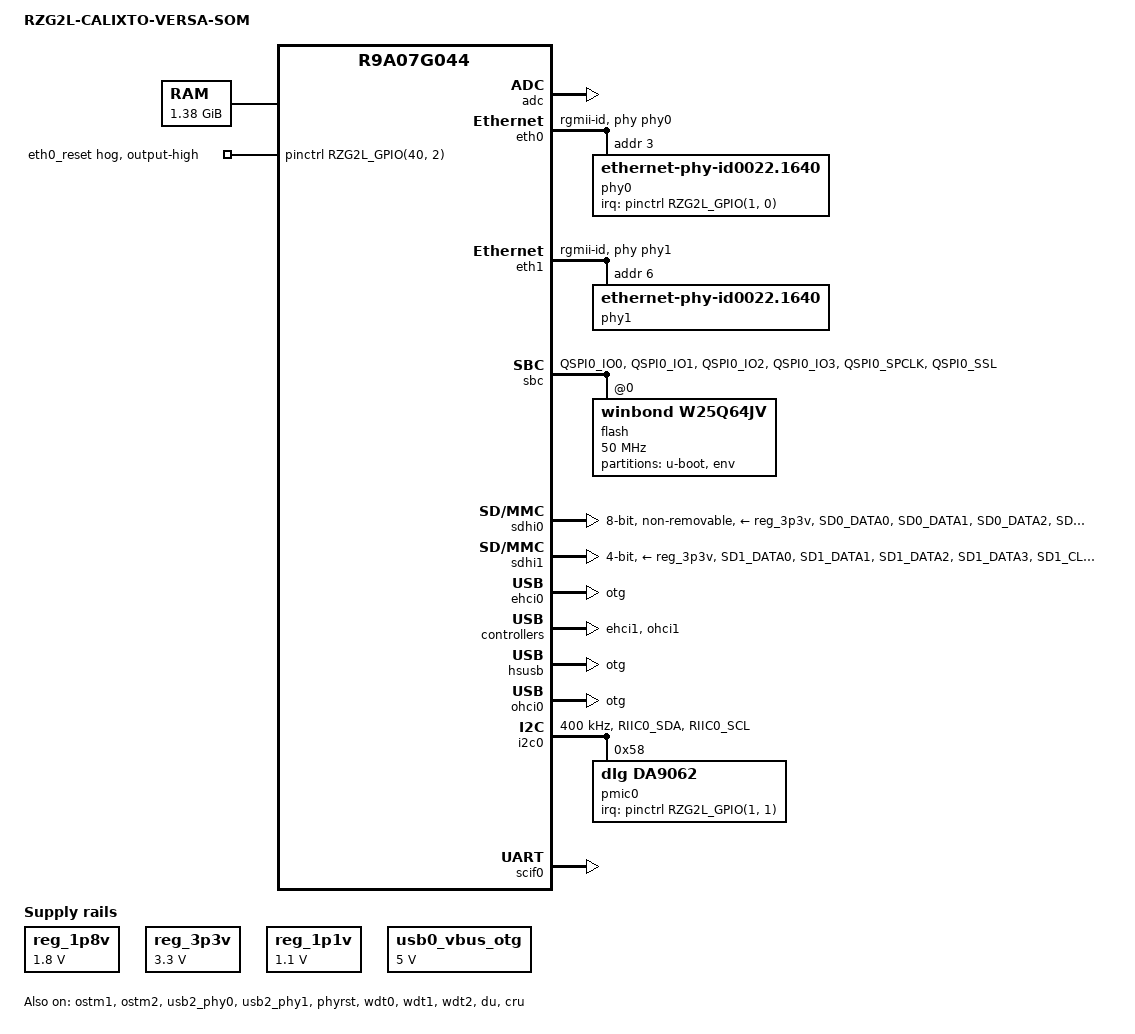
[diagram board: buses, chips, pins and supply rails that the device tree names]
// SPDX-License-Identifier: (GPL-2.0-only OR BSD-2-Clause)
/*
 * Device Tree Source for the RZG2L VERSA SOM
 *
 * Copyright (C) 2023 Calixto Systems PVT LTD.
 */

/dts-v1/;
#include "r9a07g044.dtsi"
#include <dt-bindings/gpio/gpio.h>
#include <dt-bindings/pinctrl/rzg2l-pinctrl.h>
#include <dt-bindings/regulator/dlg,da9063-regulator.h>

/ {
	model = "RZG2L-CALIXTO-VERSA-SOM";
	compatible = "calixto,rzg2l-calixto-versa-som", "renesas,r9a07g044l2", "renesas,r9a07g044";

	aliases {
		ethernet0 = &eth0;
		ethernet1 = &eth1;
		serial0 = &scif0;
		rtc0 = &da9062_rtc;
	};

	chosen {
		stdout-path = "serial0:115200n8";
		bootargs = "ignore_loglevel rw root=/dev/nfs ip=on";
	};

	memory@48000000 {
		device_type = "memory";
		/* first 128MB is reserved for secure area. */
		reg = <0x0 0x48000000 0x0 0x58000000>;
	};

	reserved-memory {
		#address-cells = <2>;
		#size-cells = <2>;
		ranges;

		global_cma: linux,cma@58000000 {
			compatible = "shared-dma-pool";
			linux,cma-default;
			reusable;
			reg = <0x0 0x58000000 0x0 0x10000000>;
		};
		mmp_reserved: linux,multimedia {
			compatible = "shared-dma-pool";
			reusable;
			reg = <0x00000000 0x68000000 0x0 0x8000000>;
		};
	};

	mmngr {
		compatible = "renesas,mmngr";
		memory-region = <&mmp_reserved>;
	};

	mmngrbuf {
		compatible = "renesas,mmngrbuf";
	};

	vspm_if {
		compatible = "renesas,vspm_if";
	};

	reg_1p8v: regulator0 {
		compatible = "regulator-fixed";
		regulator-name = "fixed-1.8V";
		regulator-min-microvolt = <1800000>;
		regulator-max-microvolt = <1800000>;
		regulator-boot-on;
		regulator-always-on;
	};

	reg_3p3v: regulator1 {
		compatible = "regulator-fixed";
		regulator-name = "fixed-3.3V";
		regulator-min-microvolt = <3300000>;
		regulator-max-microvolt = <3300000>;
		regulator-boot-on;
		regulator-always-on;
	};

	reg_1p1v: regulator-vdd-core {
		compatible = "regulator-fixed";
		regulator-name = "fixed-1.1V";
		regulator-min-microvolt = <1100000>;
		regulator-max-microvolt = <1100000>;
		regulator-boot-on;
		regulator-always-on;
	};

	usb0_vbus_otg: regulator-usb0-vbus-otg {
		compatible = "regulator-fixed";

		regulator-name = "USB0_VBUS_OTG";
		regulator-min-microvolt = <5000000>;
		regulator-max-microvolt = <5000000>;
	};

};

&adc {
	status = "okay";
};

&eth0 {
	pinctrl-0 = <&eth0_pins>;
	pinctrl-names = "default";
	phy-handle = <&phy0>;
	phy-mode = "rgmii-id"; 
	status = "okay";

	phy0: ethernet-phy@3 {
		compatible = "ethernet-phy-id0022.1640",
			     "ethernet-phy-ieee802.3-c22";
		reg = <3>;
		rxc-skew-psec = <2400>;
		txc-skew-psec = <2400>;
		rxdv-skew-psec = <0>;
		txdv-skew-psec = <0>;
		rxd0-skew-psec = <0>;
		rxd1-skew-psec = <0>;
		rxd2-skew-psec = <0>;
		rxd3-skew-psec = <0>;
		txd0-skew-psec = <0>;
		txd1-skew-psec = <0>;
		txd2-skew-psec = <0>;
		txd3-skew-psec = <0>;

		interrupt-parent = <&pinctrl>;
		interrupts = <RZG2L_GPIO(1, 0) IRQ_TYPE_LEVEL_LOW>;
	};
};

&eth1 {
	pinctrl-0 = <&eth1_pins>;
	pinctrl-names = "default";
	phy-handle = <&phy1>;
	phy-mode = "rgmii-id";
	status = "okay";

	phy1: ethernet-phy@6 {
		compatible = "ethernet-phy-id0022.1640",
			     "ethernet-phy-ieee802.3-c22";
		reg = <6>;
		rxc-skew-psec = <2400>;
		txc-skew-psec = <2400>;
		rxdv-skew-psec = <0>;
		txdv-skew-psec = <0>;
		rxd0-skew-psec = <0>;
		rxd1-skew-psec = <0>;
		rxd2-skew-psec = <0>;
		rxd3-skew-psec = <0>;
		txd0-skew-psec = <0>;
		txd1-skew-psec = <0>;
		txd2-skew-psec = <0>;
		txd3-skew-psec = <0>;
	};
};

&extal_clk {
	clock-frequency = <24000000>;
};

&gpu {
	mali-supply = <&reg_1p1v>;
};

&ostm1 {
	status = "okay";
};

&ostm2 {
	status = "okay";
};

&pinctrl {

	scif0_pins: scif0 {
		pinmux = <RZG2L_PORT_PINMUX(38, 0, 1)>,	/* TxD */
			 <RZG2L_PORT_PINMUX(38, 1, 1)>;	/* RxD */
	};

	i2c0_pins: i2c0 {
		pins = "RIIC0_SDA", "RIIC0_SCL";
		input-enable;
	};

	i2c1_pins: i2c1 {
		pins = "RIIC1_SDA", "RIIC1_SCL";
		input-enable;
	};

	eth0-reset {
		gpio-hog;
		gpios = <RZG2L_GPIO(40, 2) GPIO_ACTIVE_HIGH>;
		output-high;
		line-name = "eth0_reset";
	};

	usb0_pins: usb0 {
		pinmux = 
			 <RZG2L_PORT_PINMUX(4, 0, 1)>, /* VBUS */
			 <RZG2L_PORT_PINMUX(5, 0, 1)>, /* OVC */
			 <RZG2L_PORT_PINMUX(5, 1, 1)>; /* OTG_ID */
	};

	usb1_pins: usb1 {
		pinmux = <RZG2L_PORT_PINMUX(42, 0, 1)>, /* VBUS */
			 <RZG2L_PORT_PINMUX(42, 1, 1)>; /* OVC */
	};

	eth0_pins: eth0 {
		pinmux = <RZG2L_PORT_PINMUX(28, 1, 1)>, /* ET0_LINKSTA */
			 <RZG2L_PORT_PINMUX(27, 1, 1)>, /* ET0_MDC */
			 <RZG2L_PORT_PINMUX(28, 0, 1)>, /* ET0_MDIO */
			 <RZG2L_PORT_PINMUX(20, 0, 1)>, /* ET0_TXC */
			 <RZG2L_PORT_PINMUX(20, 1, 1)>, /* ET0_TX_CTL */
			 <RZG2L_PORT_PINMUX(20, 2, 1)>, /* ET0_TXD0 */
			 <RZG2L_PORT_PINMUX(21, 0, 1)>, /* ET0_TXD1 */
			 <RZG2L_PORT_PINMUX(21, 1, 1)>, /* ET0_TXD2 */
			 <RZG2L_PORT_PINMUX(22, 0, 1)>, /* ET0_TXD3 */
			 <RZG2L_PORT_PINMUX(24, 0, 1)>, /* ET0_RXC */
			 <RZG2L_PORT_PINMUX(24, 1, 1)>, /* ET0_RX_CTL */
			 <RZG2L_PORT_PINMUX(25, 0, 1)>, /* ET0_RXD0 */
			 <RZG2L_PORT_PINMUX(25, 1, 1)>, /* ET0_RXD1 */
			 <RZG2L_PORT_PINMUX(26, 0, 1)>, /* ET0_RXD2 */
			 <RZG2L_PORT_PINMUX(26, 1, 1)>; /* ET0_RXD3 */
	};

	eth1_pins: eth1 {
		pinmux = <RZG2L_PORT_PINMUX(37, 2, 1)>, /* ET1_LINKSTA */
			 <RZG2L_PORT_PINMUX(37, 0, 1)>, /* ET1_MDC */
			 <RZG2L_PORT_PINMUX(37, 1, 1)>, /* ET1_MDIO */
			 <RZG2L_PORT_PINMUX(29, 0, 1)>, /* ET1_TXC */
			 <RZG2L_PORT_PINMUX(29, 1, 1)>, /* ET1_TX_CTL */
			 <RZG2L_PORT_PINMUX(30, 0, 1)>, /* ET1_TXD0 */
			 <RZG2L_PORT_PINMUX(30, 1, 1)>, /* ET1_TXD1 */
			 <RZG2L_PORT_PINMUX(31, 0, 1)>, /* ET1_TXD2 */
			 <RZG2L_PORT_PINMUX(31, 1, 1)>, /* ET1_TXD3 */
			 <RZG2L_PORT_PINMUX(33, 1, 1)>, /* ET1_RXC */
			 <RZG2L_PORT_PINMUX(34, 0, 1)>, /* ET1_RX_CTL */
			 <RZG2L_PORT_PINMUX(34, 1, 1)>, /* ET1_RXD0 */
			 <RZG2L_PORT_PINMUX(35, 0, 1)>, /* ET1_RXD1 */
			 <RZG2L_PORT_PINMUX(35, 1, 1)>, /* ET1_RXD2 */
			 <RZG2L_PORT_PINMUX(36, 0, 1)>; /* ET1_RXD3 */
	};

	qspi0_pins: qspi0 {
		qspi0-data {
			pins = "QSPI0_IO0", "QSPI0_IO1", "QSPI0_IO2", "QSPI0_IO3";
			power-source = <3300>;
		};

		qspi0-ctrl {
			pins = "QSPI0_SPCLK", "QSPI0_SSL";
			power-source = <3300>;
		};
	};

	sdhi0_emmc_pins: sd0emmc {
		sd0_emmc_data {
			pins = "SD0_DATA0", "SD0_DATA1", "SD0_DATA2", "SD0_DATA3",
			       "SD0_DATA4", "SD0_DATA5", "SD0_DATA6", "SD0_DATA7";
			power-source = <1800>;
		};

		sd0_emmc_ctrl {
			pins = "SD0_CLK", "SD0_CMD";
			power-source = <1800>;
		};

		sd0_emmc_rst {
			pins = "SD0_RST#";
			power-source = <1800>;
		};
	};


	sdhi1_pins: sd1 {
		sd1_data {
			pins = "SD1_DATA0", "SD1_DATA1", "SD1_DATA2", "SD1_DATA3";
			power-source = <3300>;
		};

		sd1_ctrl {
			pins = "SD1_CLK", "SD1_CMD";
			power-source = <3300>;
		};

		sd1_mux {
			pinmux = <RZG2L_PORT_PINMUX(19, 0, 1)>; /* SD1_CD */
		};
	};

};

&sbc {
	pinctrl-0 = <&qspi0_pins>;
	pinctrl-names = "default";
	status = "okay";

	flash@0 {
		compatible = "winbond,w25q64jv", "spi-flash", "jedec,spi-nor";
		reg = <0>;
		//m25p,fast-read;
		spi-max-frequency = <50000000>;
		spi-rx-bus-width = <4>;
		spi-tx-bus-width = <4>;

		partitions {
			compatible = "fixed-partitions";
			#address-cells = <1>;
			#size-cells = <1>;

			partition@0000000 {
				label = "u-boot";
				reg = <0x00000000 0x760000>;
				read-only;
			};
			partition@80000 {
				label = "env";
				reg = <0x00760000 0x2000>;
				read-only;
			};
		};
	};
};

&sdhi0 {
	pinctrl-0 = <&sdhi0_emmc_pins>;
	pinctrl-1 = <&sdhi0_emmc_pins>;
	pinctrl-names = "default", "state_uhs";

	vmmc-supply = <&reg_3p3v>;
	vqmmc-supply = <&reg_1p8v>;
	bus-width = <8>;
	mmc-hs200-1_8v;
	non-removable;
	fixed-emmc-driver-type = <1>;
	status = "okay";
};

&sdhi1 {
	pinctrl-0 = <&sdhi1_pins>;
	pinctrl-1 = <&sdhi1_pins>;
	pinctrl-names = "default";

	vmmc-supply = <&reg_3p3v>;
	vqmmc-supply = <&reg_3p3v>;
	bus-width = <4>;
	status = "okay";
};

&ehci0 {
	dr_mode = "otg";
	status = "okay";
};

&ehci1 {
	status = "okay";
};

&hsusb {
	dr_mode = "otg";
	status = "okay";
};

&usb2_phy0 {
	pinctrl-0 = <&usb0_pins>;
	pinctrl-names = "default";

	vbus-supply = <&usb0_vbus_otg>;
	status = "okay";
};

&usb2_phy1 {
	pinctrl-0 = <&usb1_pins>;
	pinctrl-names = "default";

	status = "okay";
};

&ohci0 {
	dr_mode = "otg";
	status = "okay";
};

&ohci1 {
	status = "okay";
};

&phyrst {
	status = "okay";
};

&wdt0 {
	status = "okay";
	timeout-sec = <60>;
};

&wdt1 {
	status = "okay";
	timeout-sec = <60>;
};

&wdt2 {
	status = "okay";
	timeout-sec = <60>;
};

&ehci0 {
	memory-region = <&global_cma>;
};

&ohci0 {
	memory-region = <&global_cma>;
};

&ehci1 {
	memory-region = <&global_cma>;
};

&ohci1 {
	memory-region = <&global_cma>;
};

&i2c0 {
	pinctrl-0 = <&i2c0_pins>;
	pinctrl-names = "default";
	clock-frequency = <400000>;
	status = "okay";

	pmic0: da9062@58 {
		compatible = "dlg,da9062";
		reg = <0x58>;
		interrupt-parent = <&pinctrl>;
		interrupts = <RZG2L_GPIO(1, 1) IRQ_TYPE_LEVEL_LOW>;
		interrupt-controller;
		gpio-controller;

		da9062_rtc: rtc {
			compatible = "dlg,da9062-rtc";
			status = "okay";
		};

		da9062_onkey: onkey {
			compatible = "dlg,da9062-onkey";
                        status = "disabled";
		};

		watchdog {
			compatible = "dlg,da9062-watchdog";
			dlg,use-sw-pm;
                        status = "disabled";
		};

		thermal {
			compatible = "dlg,da9062-thermal";
			status = "disabled";
		};

		gpio {
			compatible = "dlg,da9062-gpio";
			status = "disabled";
		};

		regulators {
			/*vdd_arm: buck1 {
				regulator-name = "vdd_arm";
				regulator-min-microvolt = <925000>;
				regulator-max-microvolt = <1380000>;
				regulator-initial-mode = <DA9063_BUCK_MODE_SYNC>;
				regulator-always-on;
			};

			vdd_soc: buck2 {
				regulator-name = "vdd_soc";
				regulator-min-microvolt = <1150000>;
				regulator-max-microvolt = <1380000>;
				regulator-initial-mode = <DA9063_BUCK_MODE_SYNC>;
				regulator-always-on;
			};

			vdd_ddr3_1p5: buck3 {
				regulator-name = "vdd_ddr3";
				regulator-min-microvolt = <1500000>;
				regulator-max-microvolt = <1500000>;
				regulator-initial-mode = <DA9063_BUCK_MODE_SYNC>;
				regulator-always-on;
			};

			vdd_eth_1p2: buck4 {
				regulator-name = "vdd_eth";
				regulator-min-microvolt = <1200000>;
				regulator-max-microvolt = <1200000>;
				regulator-initial-mode = <DA9063_BUCK_MODE_SYNC>;
				regulator-always-on;
			};

			vdd_snvs: ldo1 {
				regulator-name = "vdd_snvs";
				regulator-min-microvolt = <3000000>;
				regulator-max-microvolt = <3000000>;
				regulator-always-on;
			};

			vdd_high: ldo2 {
				regulator-name = "vdd_high";
				regulator-min-microvolt = <3000000>;
				regulator-max-microvolt = <3000000>;
				regulator-always-on;
			};

			vdd_eth_io: ldo3 {
				regulator-name = "vdd_eth_io";
				regulator-min-microvolt = <2500000>;
				regulator-max-microvolt = <2500000>;
			};

			vdd_emmc_1p8: ldo4 {
				regulator-name = "vdd_emmc";
				regulator-min-microvolt = <1800000>;
				regulator-max-microvolt = <1800000>;
			};*/
		};

	};
};

&scif0 {
	pinctrl-0 = <&scif0_pins>;
	pinctrl-names = "default";
	status = "okay";
};

&ehci0 {
	memory-region = <&global_cma>;
};

&ohci0 {
	memory-region = <&global_cma>;
};

&ehci1 {
	memory-region = <&global_cma>;
};

&ohci1 {
	memory-region = <&global_cma>;
};

&du {
	status = "okay";
};

&cru {
	status = "okay";
};



